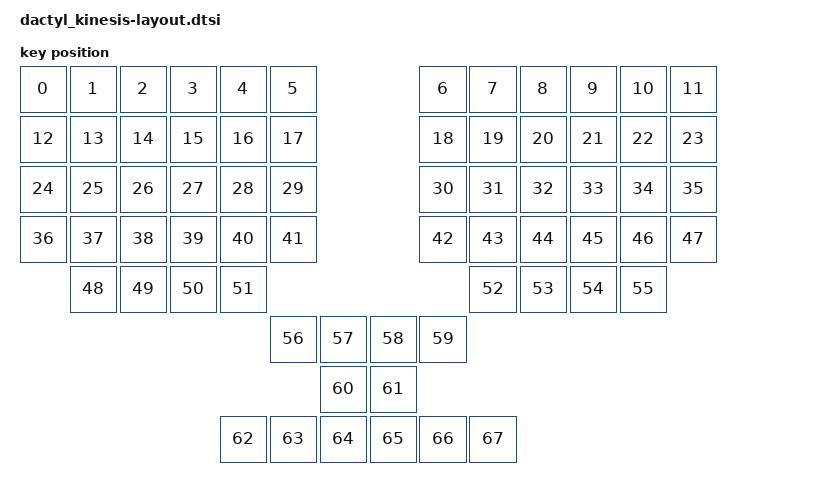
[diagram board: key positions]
#include <physical_layouts.dtsi>

/ {
    dactyl_kinesis_layout: dactyl_kinesis_layout {
        compatible = "zmk,physical-layout";
        display-name = "Default";

        keys  //                     w   h    x    y     rot    rx    ry
            = <&key_physical_attrs 100 100    0    0       0     0     0>
            , <&key_physical_attrs 100 100  100    0       0     0     0>
            , <&key_physical_attrs 100 100  200    0       0     0     0>
            , <&key_physical_attrs 100 100  300    0       0     0     0>
            , <&key_physical_attrs 100 100  400    0       0     0     0>
            , <&key_physical_attrs 100 100  500    0       0     0     0>
            , <&key_physical_attrs 100 100  800    0       0     0     0>
            , <&key_physical_attrs 100 100  900    0       0     0     0>
            , <&key_physical_attrs 100 100 1000    0       0     0     0>
            , <&key_physical_attrs 100 100 1100    0       0     0     0>
            , <&key_physical_attrs 100 100 1200    0       0     0     0>
            , <&key_physical_attrs 100 100 1300    0       0     0     0>
            , <&key_physical_attrs 100 100    0  100       0     0     0>
            , <&key_physical_attrs 100 100  100  100       0     0     0>
            , <&key_physical_attrs 100 100  200  100       0     0     0>
            , <&key_physical_attrs 100 100  300  100       0     0     0>
            , <&key_physical_attrs 100 100  400  100       0     0     0>
            , <&key_physical_attrs 100 100  500  100       0     0     0>
            , <&key_physical_attrs 100 100  800  100       0     0     0>
            , <&key_physical_attrs 100 100  900  100       0     0     0>
            , <&key_physical_attrs 100 100 1000  100       0     0     0>
            , <&key_physical_attrs 100 100 1100  100       0     0     0>
            , <&key_physical_attrs 100 100 1200  100       0     0     0>
            , <&key_physical_attrs 100 100 1300  100       0     0     0>
            , <&key_physical_attrs 100 100    0  200       0     0     0>
            , <&key_physical_attrs 100 100  100  200       0     0     0>
            , <&key_physical_attrs 100 100  200  200       0     0     0>
            , <&key_physical_attrs 100 100  300  200       0     0     0>
            , <&key_physical_attrs 100 100  400  200       0     0     0>
            , <&key_physical_attrs 100 100  500  200       0     0     0>
            , <&key_physical_attrs 100 100  800  200       0     0     0>
            , <&key_physical_attrs 100 100  900  200       0     0     0>
            , <&key_physical_attrs 100 100 1000  200       0     0     0>
            , <&key_physical_attrs 100 100 1100  200       0     0     0>
            , <&key_physical_attrs 100 100 1200  200       0     0     0>
            , <&key_physical_attrs 100 100 1300  200       0     0     0>
            , <&key_physical_attrs 100 100    0  300       0     0     0>
            , <&key_physical_attrs 100 100  100  300       0     0     0>
            , <&key_physical_attrs 100 100  200  300       0     0     0>
            , <&key_physical_attrs 100 100  300  300       0     0     0>
            , <&key_physical_attrs 100 100  400  300       0     0     0>
            , <&key_physical_attrs 100 100  500  300       0     0     0>
            , <&key_physical_attrs 100 100  800  300       0     0     0>
            , <&key_physical_attrs 100 100  900  300       0     0     0>
            , <&key_physical_attrs 100 100 1000  300       0     0     0>
            , <&key_physical_attrs 100 100 1100  300       0     0     0>
            , <&key_physical_attrs 100 100 1200  300       0     0     0>
            , <&key_physical_attrs 100 100 1300  300       0     0     0>
            , <&key_physical_attrs 100 100  100  400       0     0     0>
            , <&key_physical_attrs 100 100  200  400       0     0     0>
            , <&key_physical_attrs 100 100  300  400       0     0     0>
            , <&key_physical_attrs 100 100  400  400       0     0     0>
            , <&key_physical_attrs 100 100  900  400       0     0     0>
            , <&key_physical_attrs 100 100 1000  400       0     0     0>
            , <&key_physical_attrs 100 100 1100  400       0     0     0>
            , <&key_physical_attrs 100 100 1200  400       0     0     0>
            , <&key_physical_attrs 100 100  500  500       0     0     0>
            , <&key_physical_attrs 100 100  600  500       0     0     0>
            , <&key_physical_attrs 100 100  700  500       0     0     0>
            , <&key_physical_attrs 100 100  800  500       0     0     0>
            , <&key_physical_attrs 100 100  600  600       0     0     0>
            , <&key_physical_attrs 100 100  700  600       0     0     0>
            , <&key_physical_attrs 100 100  400  700       0     0     0>
            , <&key_physical_attrs 100 100  500  700       0     0     0>
            , <&key_physical_attrs 100 100  600  700       0     0     0>
            , <&key_physical_attrs 100 100  700  700       0     0     0>
            , <&key_physical_attrs 100 100  800  700       0     0     0>
            , <&key_physical_attrs 100 100  900  700       0     0     0>
            ;
    };
};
